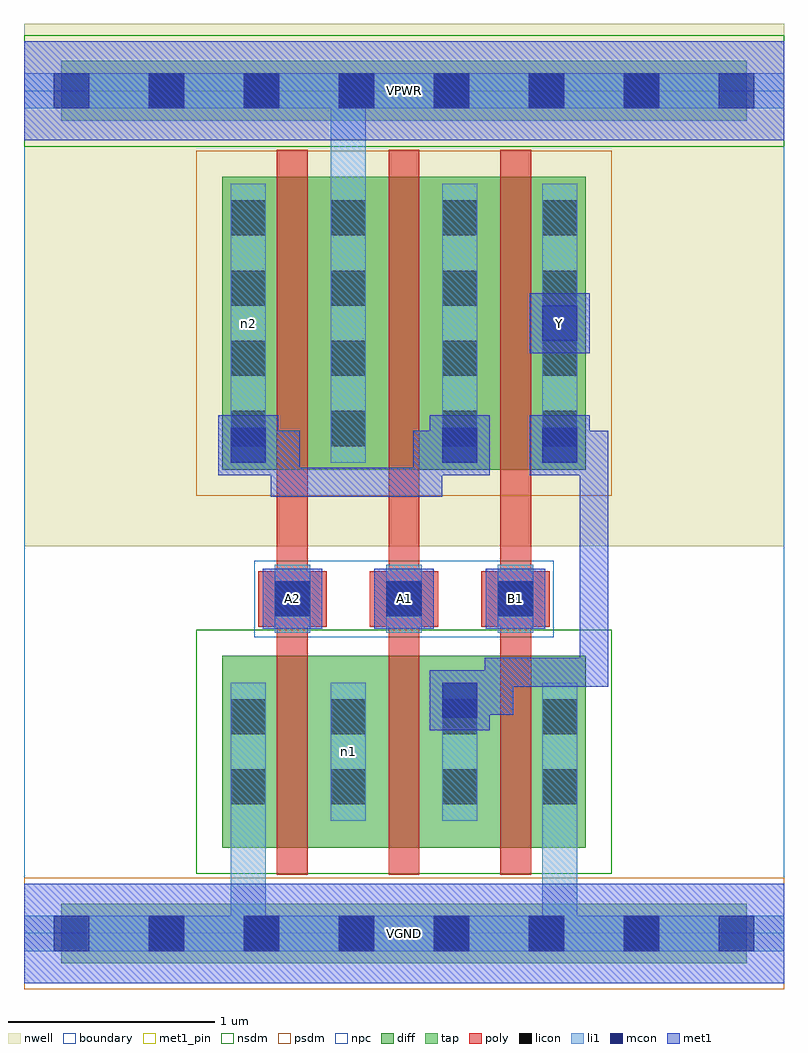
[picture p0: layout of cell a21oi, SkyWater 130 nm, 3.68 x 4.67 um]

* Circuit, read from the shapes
.subckt a21oi A1 A2 B1 VGND VPWR Y n1 n2
XM1 n1 A2 VGND VGND sky130_fd_pr__nfet_01v8 w=0.93 l=0.15
XM2 Y A1 n1 VGND sky130_fd_pr__nfet_01v8 w=0.93 l=0.15
XM3 VGND B1 Y VGND sky130_fd_pr__nfet_01v8 w=0.93 l=0.15
XM4 VPWR A2 n2 VPWR sky130_fd_pr__pfet_01v8 w=1.42 l=0.15
XM5 n2 A1 VPWR VPWR sky130_fd_pr__pfet_01v8 w=1.42 l=0.15
XM6 Y B1 n2 VPWR sky130_fd_pr__pfet_01v8 w=1.42 l=0.15
.ends

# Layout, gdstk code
import gdstk
lib = gdstk.Library(unit=1e-6, precision=1e-09)
def R(c, l, rs):  # rectangles x0, y0, x1, y1
    for r in rs: c.add(gdstk.rectangle(r[:2], r[2:], *l))
def A(c, l, x, y, w, h, nx, ny, dx, dy):  # array of equal rectangles
    R(c, l, [(x+i*dx, y+j*dy, x+i*dx+w, y+j*dy+h) for i in range(nx) for j in range(ny)])
nwell = (64, 20)
diff = (65, 20)
tap = (65, 44)
poly = (66, 20)
licon = (66, 44)
li1 = (67, 20)
mcon = (67, 44)
met1_pin = (68, 16)
met1 = (68, 20)
nsdm = (93, 44)
psdm = (94, 20)
npc = (95, 20)
boundary = (235, 4)

a21oi = lib.new_cell('a21oi')
R(a21oi, nwell, [(0,1.875,3.68,4.405)])
R(a21oi, diff, [(0.96,0.415,2.72,1.345), (0.96,2.245,2.72,3.665)])
R(a21oi, tap, [(0.18,-0.145,3.5,0.145), (0.18,3.935,3.5,4.225)])
A(a21oi, poly, 1.225, 0.285, 0.15, 3.51, 3, 1, 0.54, 0)
A(a21oi, poly, 1.135, 1.485, 0.33, 0.27, 3, 1, 0.54, 0)
A(a21oi, licon, 0.605, -0.085, 0.17, 0.17, 6, 2, 0.46, 4.08)
A(a21oi, licon, 1.215, 1.535, 0.17, 0.17, 3, 1, 0.54, 0)
A(a21oi, licon, 1, 2.36, 0.17, 0.17, 1, 4, 0, 0.34)
A(a21oi, licon, 1.485, 2.36, 0.17, 0.17, 1, 4, 0, 0.34)
A(a21oi, licon, 2.025, 2.36, 0.17, 0.17, 1, 4, 0, 0.34)
A(a21oi, licon, 2.51, 2.36, 0.17, 0.17, 1, 4, 0, 0.34)
R(a21oi, licon, [(1,0.625,1.17,0.795), (1.485,0.625,1.655,0.795), (2.025,0.625,2.195,0.795), (2.51,0.625,2.68,0.795), (1,0.965,1.17,1.135), (1.485,0.965,1.655,1.135), (2.025,0.965,2.195,1.135), (2.51,0.965,2.68,1.135)])
A(a21oi, li1, 1.215, 1.455, 0.17, 0.33, 3, 1, 0.54, 0)
R(a21oi, li1, [(0,-0.085,3.68,0.085), (1,-0.085,1.17,1.215), (2.51,-0.085,2.68,1.215), (1,0.545,1.17,1.215), (1.485,0.545,1.655,1.215), (2.025,0.545,2.195,1.215), (2.51,0.545,2.68,1.215), (1,2.28,1.17,3.63), (1.485,2.28,1.655,3.63), (1.485,2.28,1.655,4.165), (2.025,2.28,2.195,3.63), (2.51,2.28,2.68,3.63), (0,3.995,3.68,4.165)])
A(a21oi, mcon, 0.145, -0.085, 0.17, 0.17, 8, 2, 0.46, 4.08)
A(a21oi, mcon, 1.215, 1.535, 0.17, 0.17, 3, 1, 0.54, 0)
R(a21oi, mcon, [(2.025,1.045,2.195,1.215), (1,2.28,1.17,2.45), (2.025,2.28,2.195,2.45), (2.51,2.28,2.68,2.45), (2.51,2.87,2.68,3.04)])
A(a21oi, met1_pin, 1.155, 1.475, 0.29, 0.29, 3, 1, 0.54, 0)
R(a21oi, met1_pin, [(0,-0.24,3.68,0.24), (2.45,2.81,2.74,3.1), (0,3.84,3.68,4.32)])
A(a21oi, met1, 1.155, 1.475, 0.29, 0.29, 3, 1, 0.54, 0)
R(a21oi, met1, [(0,-0.24,3.68,0.24), (1.965,0.985,2.255,1.275), (2.04,1.06,2.37,1.2), (2.23,1.06,2.37,1.335), (2.23,1.195,2.83,1.335), (2.69,1.195,2.83,2.255), (1.195,2.115,1.335,2.435), (1.195,2.115,2.025,2.255), (1.885,2.115,2.025,2.435), (2.69,2.115,2.83,2.435), (0.94,2.22,1.23,2.51), (1.965,2.22,2.255,2.51), (2.45,2.22,2.74,2.51), (1.015,2.295,1.335,2.435), (1.885,2.295,2.18,2.435), (2.525,2.295,2.83,2.435), (2.45,2.81,2.74,3.1), (0,3.84,3.68,4.32)])
R(a21oi, nsdm, [(0.835,0.29,2.845,1.47), (0,3.81,3.68,4.35)])
R(a21oi, psdm, [(0,-0.27,3.68,0.27), (0.835,2.12,2.845,3.79)])
R(a21oi, npc, [(1.115,1.435,2.565,1.805)])
R(a21oi, boundary, [(0,0,3.68,4.08)])
a21oi.add(gdstk.Label('n1', (1.57,0.88), layer=67, texttype=5))
a21oi.add(gdstk.Label('n2', (1.085,2.955), layer=67, texttype=5))
a21oi.add(gdstk.Label('A1', (1.84,1.62), layer=68, texttype=5))
a21oi.add(gdstk.Label('A2', (1.3,1.62), layer=68, texttype=5))
a21oi.add(gdstk.Label('B1', (2.38,1.62), layer=68, texttype=5))
a21oi.add(gdstk.Label('Y', (2.595,2.955), layer=68, texttype=5))
a21oi.add(gdstk.Label('VPWR', (1.84,4.08), layer=68, texttype=5))
a21oi.add(gdstk.Label('VGND', (1.84,0), layer=68, texttype=5))
a21oi.add(gdstk.Label('A1', (1.84,1.62), layer=68, texttype=16))
a21oi.add(gdstk.Label('A2', (1.3,1.62), layer=68, texttype=16))
a21oi.add(gdstk.Label('B1', (2.38,1.62), layer=68, texttype=16))
a21oi.add(gdstk.Label('Y', (2.595,2.955), layer=68, texttype=16))
a21oi.add(gdstk.Label('VPWR', (1.84,4.08), layer=68, texttype=16))
a21oi.add(gdstk.Label('VGND', (1.84,0), layer=68, texttype=16))

lib.write_gds('a21oi.gds')
